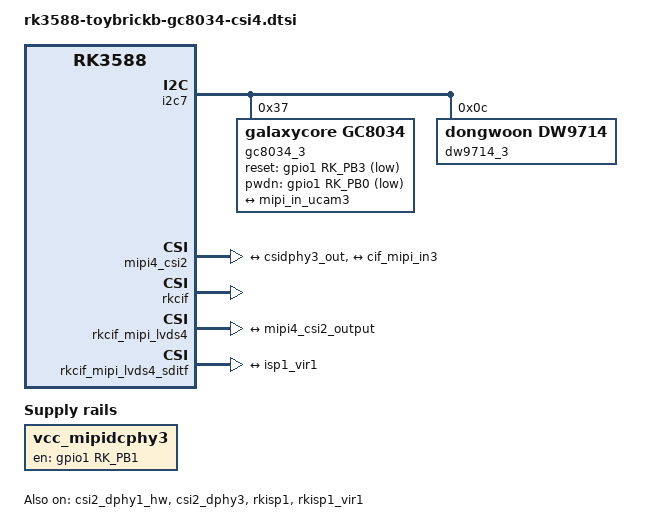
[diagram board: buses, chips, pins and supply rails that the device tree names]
/ {
	vcc_mipidcphy3: vcc-mipidcphy3-regulator {
		compatible = "regulator-fixed";
		gpio = <&gpio1 RK_PB1 GPIO_ACTIVE_HIGH>;
		pinctrl-names = "default";
		pinctrl-0 = <&mipidcphy3_pwr>;
		regulator-name = "vcc_mipidcphy3";
		enable-active-high;
		regulator-always-on;
		regulator-boot-on;
	};
};

&i2c7 {
	status = "okay";
	pinctrl-0 = <&i2c7m0_xfer>;
	
	gc8034_3: gc8034-3@37 {
		compatible = "galaxycore,gc8034";
		status = "okay";
		reg = <0x37>;
		clocks = <&cru CLK_MIPI_CAMARAOUT_M4>;
		clock-names = "xvclk";
		power-domains = <&power RK3588_PD_VI>;
		reset-gpios = <&gpio1 RK_PB3 GPIO_ACTIVE_LOW>;
		pwdn-gpios = <&gpio1 RK_PB0 GPIO_ACTIVE_LOW>;
		pinctrl-names = "default";
		pinctrl-0 = <&mipim0_camera4_clk>;
		rockchip,camera-module-index = <3>;
		rockchip,camera-module-facing = "back";
		rockchip,camera-module-name = "RK-CMK-8M-2-v1";
		rockchip,camera-module-lens-name = "CK8401";
		lens-focus = <&dw9714_3>;
		port {
			gc8034_out3: endpoint {
				remote-endpoint = <&mipi_in_ucam3>;
				data-lanes = <1 2 3 4>;
		};
	};
};

	dw9714_3: dw9714-3@c {
		status = "okay";
		compatible = "dongwoon,dw9714";
		reg = <0x0c>;
		rockchip,camera-module-index = <3>;
		rockchip,camera-module-facing = "back";
	};
};

&csi2_dphy1_hw {
	status = "okay";
};

&csi2_dphy3 {
	status = "okay";

	ports {
		#address-cells = <1>;
		#size-cells = <0>;
		port@0 {
			reg = <0>;
			#address-cells = <1>;
			#size-cells = <0>;

			mipi_in_ucam3: endpoint@1 {
				reg = <1>;
				remote-endpoint = <&gc8034_out3>;
				data-lanes = <1 2 3 4>;
			};
		};
		port@1 {
			reg = <1>;
			#address-cells = <1>;
			#size-cells = <0>;

			csidphy3_out: endpoint@0 {
				reg = <0>;
				remote-endpoint = <&mipi4_csi2_input>;
			};
		};
	};
};

&mipi4_csi2 {
	status = "okay";

	ports {
		#address-cells = <1>;
		#size-cells = <0>;

		port@0 {
			reg = <0>;
			#address-cells = <1>;
			#size-cells = <0>;

			mipi4_csi2_input: endpoint@1 {
				reg = <1>;
				remote-endpoint = <&csidphy3_out>;
			};
		};

		port@1 {
			reg = <1>;
			#address-cells = <1>;
			#size-cells = <0>;

			mipi4_csi2_output: endpoint@0 {
				reg = <0>;
				remote-endpoint = <&cif_mipi_in3>;
			};
		};
	};
};

&rkcif {
	status = "okay";
};

&rkcif_mmu {
	status = "okay";
};

&rkcif_mipi_lvds4 {
	status = "okay";

	port {
		cif_mipi_in3: endpoint {
			remote-endpoint = <&mipi4_csi2_output>;
		};
	};
};

&rkcif_mipi_lvds4_sditf {
	status = "okay";

	port {
		mipi4_lvds_sditf: endpoint {
			remote-endpoint = <&isp1_vir1>;
		};
	};
};

&rkisp1 {
	status = "okay";
};

&isp1_mmu {
	status = "okay";
};

&rkisp1_vir1 {
	status = "okay";

	port {
		#address-cells = <1>;
		#size-cells = <0>;

		isp1_vir1: endpoint@0 {
			reg = <0>;
			remote-endpoint = <&mipi4_lvds_sditf>;
		};
	};
};


&pinctrl {
	mipidcphy3_pwr: mipidcphy3-pwr {
		rockchip,pins =
			/* camera power en */
			<1 RK_PB1 RK_FUNC_GPIO &pcfg_output_high>;
	};
};
